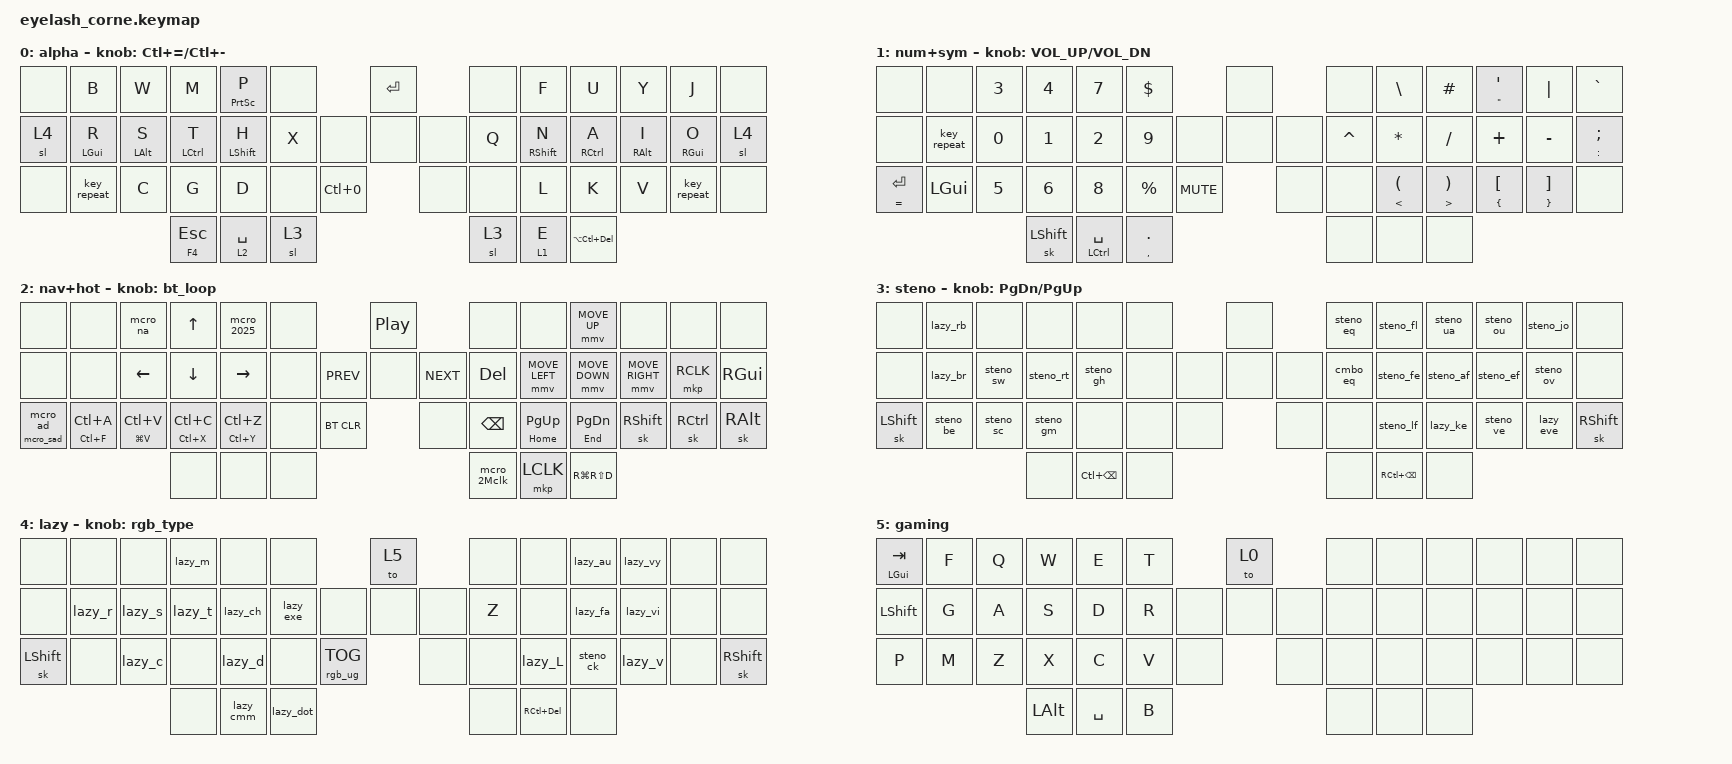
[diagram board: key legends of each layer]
#include <dt-bindings/zmk/mouse.h>
#include <input/processors.dtsi>
#include <behaviors.dtsi>
#include <dt-bindings/zmk/bt.h>
#include <dt-bindings/zmk/keys.h>
#include <dt-bindings/zmk/pointing.h>
#include <dt-bindings/zmk/rgb.h>

/*

   &mmv_input_listener {
       input-processors = <&zip_xy_scaler 2 1>;
   };

   &msc_input_listener {
       input-processors = <&zip_xy_scaler 2 1>;
   };

 */

#define ZMK_MOUSE_DEFAULT_MOVE_VAL 1600  // 600
#define ZMK_MOUSE_DEFAULT_SCRL_VAL 30    // 10

&mt {
    tapping-term-ms = <200>;
    flavor = "tap-preferred";
    require-prior-idle-ms = <75>;
};

&lt {
    tapping-term-ms = <200>;
    require-prior-idle-ms = <75>;
};

&caps_word { continue-list = <UNDERSCORE BACKSPACE DELETE MINUS N1 N2 N3 N4 N5 N6 N7 N8 N9 N0>; };

/ {
    behaviors {
        td0: td0 {
            compatible = "zmk,behavior-tap-dance";
            display-name = "Shift/Caps Lock Tap Dance";
            #binding-cells = <0>;
            bindings = <&kp LEFT_SHIFT>, <&kp CAPS>;
        };

        act_dir: act_dir {
            compatible = "zmk,behavior-hold-tap";
            label = "ACT_DIR";
            bindings = <&mcro_sad>, <&mcro_ad>;

            #binding-cells = <2>;
            tapping-term-ms = <200>;
            quick-tap-ms = <0>;
            require-prior-idle-ms = <0>;
            flavor = "tap-preferred";
        };

        media: media {
            compatible = "zmk,behavior-tap-dance";
            label = "MEDIA";
            #binding-cells = <0>;
            bindings = <&mt C_PP C_NEXT>, <&kp C_PREV>;
        };

        bt_loop: bt_loop {
            compatible = "zmk,behavior-sensor-rotate";
            label = "BT_LOOP";
            #sensor-binding-cells = <0>;
            bindings = <&bt BT_NXT>, <&bt BT_PRV>;
        };

        rgb_type: rgb_type {
            compatible = "zmk,behavior-sensor-rotate";
            label = "RGB_TYPE";
            #sensor-binding-cells = <0>;
            bindings = <&rgb_ug RGB_EFF>, <&rgb_ug RGB_EFR>;
        };

        sk_tap: sk_tap {
            compatible = "zmk,behavior-hold-tap";
            label = "SK_TAP";
            bindings = <&sk>, <&kp>;

            #binding-cells = <2>;
            tapping-term-ms = <200>;
            require-prior-idle-ms = <50>;
            flavor = "tap-preferred";
        };
    };

    rgb_encoder: rgb_encoder {
        compatible = "zmk,behavior-sensor-rotate";
        #sensor-binding-cells = <0>;
        bindings = <&rgb_ug RGB_BRI>, <&rgb_ug RGB_BRD>;
    };

    scroll_encoder: scroll_encoder {
        compatible = "zmk,behavior-sensor-rotate";
        #sensor-binding-cells = <0>;
        bindings = <&msc SCRL_DOWN>, <&msc SCRL_UP>;

        tap-ms = <30>;
    };

    macros {
        mcro_sQuote: mcro_sQuote {
            compatible = "zmk,behavior-macro";
            #binding-cells = <0>;
            bindings = <&kp SQT &kp SQT &kp LEFT_ARROW>;
            label = "MCRO_SQUOTE";
        };

        mcro_2Mclk: mcro_2Mclk {
            compatible = "zmk,behavior-macro";
            #binding-cells = <0>;
            bindings = <&mkp LCLK &mkp LCLK>;
            label = "MCRO_2MCLK";
        };

        mcro_na: mcro_na {
            compatible = "zmk,behavior-macro";
            #binding-cells = <0>;
            bindings = <&kp LS(N) &kp FSLH &kp LS(A)>;
            label = "MCRO_NA";
        };

        mcro_2025: mcro_2025 {
            compatible = "zmk,behavior-macro";
            #binding-cells = <0>;
            bindings = <&kp N2 &kp N0 &kp N2 &kp N5>;
            label = "MCRO_2025";
        };

        mcro_ad: mcro_ad {
            compatible = "zmk,behavior-macro";
            #binding-cells = <0>;
            bindings = <&kp D &kp E &kp L &kp L &kp O &kp N &kp DOT &kp M &kp O &kp Y>;
            label = "MCRO_AD";
        };

        mcro_sad: mcro_sad {
            compatible = "zmk,behavior-macro";
            #binding-cells = <0>;
            bindings = <&kp S &kp DOT &kp D &kp E &kp L &kp L &kp O &kp N &kp DOT &kp M &kp O &kp Y>;
            label = "MCRO_SAD";
            wait-ms = <0>;
        };

        steno_fl: steno_fl {
            compatible = "zmk,behavior-macro";
            #binding-cells = <0>;
            bindings = <&kp F &kp L>;
            label = "STENO_FL";
        };

        steno_lf: steno_lf {
            compatible = "zmk,behavior-macro";
            #binding-cells = <0>;
            bindings = <&kp L &kp F>;
            label = "STENO_LF";
        };

        steno_ou: steno_ou {
            compatible = "zmk,behavior-macro";
            #binding-cells = <0>;
            bindings = <&kp O &kp U>;
            label = "STENO_OU";
        };

        steno_af: steno_af {
            compatible = "zmk,behavior-macro";
            #binding-cells = <0>;
            bindings = <&kp A &kp F>;
            label = "STENO_AF";
        };

        steno_fe: steno_fe {
            compatible = "zmk,behavior-macro";
            #binding-cells = <0>;
            bindings = <&kp F &kp E>;
            label = "STENO_FE";
        };

        steno_ef: steno_ef {
            compatible = "zmk,behavior-macro";
            #binding-cells = <0>;
            bindings = <&kp E &kp F>;
            label = "STENO_EF";
        };

        steno_sw: steno_sw {
            compatible = "zmk,behavior-macro";
            #binding-cells = <0>;
            bindings = <&kp S &kp W>;
            label = "STENO_SW";
        };

        lazy_r: lazy_r {
            compatible = "zmk,behavior-macro";
            #binding-cells = <0>;
            bindings = <&kp SQT &kp R &kp E &kp SPACE>;
            label = "LAZY_R";
        };

        lazy_s: lazy_s {
            compatible = "zmk,behavior-macro";
            #binding-cells = <0>;
            bindings = <&kp SQT &kp S &kp SPACE>;
            label = "LAZY_S";
        };

        lazy_t: lazy_t {
            compatible = "zmk,behavior-macro";
            #binding-cells = <0>;
            bindings = <&kp SQT &kp T &kp SPACE>;
            label = "LAZY_T";
        };

        lazy_L: lazy_L {
            compatible = "zmk,behavior-macro";
            #binding-cells = <0>;
            bindings = <&kp SQT &kp L &kp L &kp SPACE>;
            label = "LAZY_L";
        };

        lazy_v: lazy_v {
            compatible = "zmk,behavior-macro";
            #binding-cells = <0>;
            bindings = <&kp SQT &kp V &kp E &kp SPACE>;
            label = "LAZY_V";
        };

        lazy_cmm: lazy_cmm {
            compatible = "zmk,behavior-macro";
            #binding-cells = <0>;
            bindings = <&kp COMMA &kp SPACE>;
            label = "LAZY_CMM";
        };

        lazy_ke: lazy_ke {
            compatible = "zmk,behavior-macro";
            #binding-cells = <0>;
            bindings = <&kp K &kp E>;
            label = "LAZY_KE";
        };

        lazy_exe: lazy_exe {
            compatible = "zmk,behavior-macro";
            #binding-cells = <0>;
            bindings = <&kp E &kp X &kp E>;
            label = "LAZY_EXE";
        };

        lazy_fa: lazy_fa {
            compatible = "zmk,behavior-macro";
            #binding-cells = <0>;
            bindings = <&kp F &kp A>;
            label = "LAZY_FA";
        };

        lazy_m: lazy_m {
            compatible = "zmk,behavior-macro";
            #binding-cells = <0>;
            bindings = <&kp SQT &kp M &kp SPACE>;
            label = "LAZY_M";
        };

        steno_ov: steno_ov {
            compatible = "zmk,behavior-macro";
            #binding-cells = <0>;
            bindings = <&kp O &kp V>;
            label = "STENO_OV";
        };

        steno_gm: steno_gm {
            compatible = "zmk,behavior-macro";
            #binding-cells = <0>;
            bindings = <&kp G &kp M>;
            label = "STENO_GM";
        };

        lazy_d: lazy_d {
            compatible = "zmk,behavior-macro";
            #binding-cells = <0>;
            bindings = <&kp SQT &kp D &kp SPACE>;
            label = "LAZY_D";
        };

        lazy_au: lazy_au {
            compatible = "zmk,behavior-macro";
            #binding-cells = <0>;
            bindings = <&kp A &kp U>;
            label = "LAZY_AU";
        };

        lazy_eve: lazy_eve {
            compatible = "zmk,behavior-macro";
            #binding-cells = <0>;
            bindings = <&kp E &kp V &kp E>;
            label = "LAZY_EVE";
        };

        lazy_c: lazy_c {
            compatible = "zmk,behavior-macro";
            #binding-cells = <0>;
            bindings = <&kp C &kp SQT>;
            label = "LAZY_C";
        };

        steno_ua: steno_ua {
            compatible = "zmk,behavior-macro";
            #binding-cells = <0>;
            bindings = <&kp U &kp A>;
            label = "STENO_UA";
        };

        lazy_rb: lazy_rb {
            compatible = "zmk,behavior-macro";
            #binding-cells = <0>;
            bindings = <&kp R &kp B>;
            label = "LAZY_RB";
        };

        lazy_br: lazy_br {
            compatible = "zmk,behavior-macro";
            #binding-cells = <0>;
            bindings = <&kp B &kp R>;
            label = "LAZY_BR";
        };

        lazy_be: lazy_be {
            compatible = "zmk,behavior-macro";
            #binding-cells = <0>;
            bindings = <&kp B &kp E>;
            label = "LAZY_BE";
        };

        steno_be: steno_be {
            compatible = "zmk,behavior-macro";
            #binding-cells = <0>;
            bindings = <&kp B &kp E>;
            label = "STENO_BE";
        };

        steno_sc: steno_sc {
            compatible = "zmk,behavior-macro";
            #binding-cells = <0>;
            bindings = <&kp S &kp C>;
            label = "STENO_SC";
        };

        steno_ck: steno_ck {
            compatible = "zmk,behavior-macro";
            #binding-cells = <0>;
            bindings = <&kp C &kp K>;
            label = "STENO_CK";
        };

        steno_ve: steno_ve {
            compatible = "zmk,behavior-macro";
            #binding-cells = <0>;
            bindings = <&kp V &kp E>;
            label = "STENO_VE";
        };

        lazy_vy: lazy_vy {
            compatible = "zmk,behavior-macro";
            #binding-cells = <0>;
            bindings = <&kp V &kp Y>;
            label = "LAZY_VY";
        };

        lazy_vi: lazy_vi {
            compatible = "zmk,behavior-macro";
            #binding-cells = <0>;
            bindings = <&kp V &kp I>;
            label = "LAZY_VI";
        };

        steno_gh: steno_gh {
            compatible = "zmk,behavior-macro";
            #binding-cells = <0>;
            bindings = <&kp G &kp H>;
            label = "STENO_GH";
        };

        steno_rt: steno_rt {
            compatible = "zmk,behavior-macro";
            #binding-cells = <0>;
            bindings = <&kp R &kp T>;
            label = "STENO_RT";
        };

        steno_eq: steno_eq {
            compatible = "zmk,behavior-macro";
            #binding-cells = <0>;
            bindings = <&kp E &kp Q>;
            label = "STENO_EQ";
        };

        steno_jo: steno_jo {
            compatible = "zmk,behavior-macro";
            #binding-cells = <0>;
            bindings = <&kp J &kp O>;
            label = "STENO_JO";
        };

        lazy_dot: lazy_dot {
            compatible = "zmk,behavior-macro";
            #binding-cells = <0>;
            bindings = <&kp DOT &kp SPACE>;
            label = "LAZY_DOT";
        };

        lazy_ch: lazy_ch {
            compatible = "zmk,behavior-macro";
            #binding-cells = <0>;
            bindings = <&kp C &kp H>;
            label = "LAZY_CH";
        };

        cmbo_eq: cmbo_eq {
            compatible = "zmk,behavior-macro";
            #binding-cells = <0>;
            bindings = <&kp E &kp Q>;
            label = "CMBO_EQ";
        };
    };

    combos {
        compatible = "zmk,combos";

        cap {
            bindings = <&caps_word>;
            key-positions = <44 45>;
            layers = <0>;
            timeout-ms = <30>;
        };

        tab {
            bindings = <&kp TAB>;
            key-positions = <13 14>;
            layers = <0>;
            timeout-ms = <30>;
        };

        und {
            bindings = <&mt TILDE UNDER>;
            key-positions = <26 27>;
            timeout-ms = <30>;
        };

        exl {
            bindings = <&mt QUESTION EXCLAMATION>;
            key-positions = <25 26>;
            timeout-ms = <30>;
        };

        at {
            bindings = <&kp AMPS>;
            key-positions = <11 10>;
            timeout-ms = <30>;
        };

        amp {
            bindings = <&kp AT>;
            key-positions = <39 40>;
            timeout-ms = <30>;
        };

        Lshft {
            bindings = <&sk LSHFT>;
            key-positions = <17 18>;
        };

        Rshft {
            bindings = <&sk RSHFT>;
            key-positions = <22 23>;
        };
    };

    keymap {
        compatible = "zmk,keymap";

        alpha {
            label = "alpha";
            bindings = <
&none  &kp B           &kp W           &kp M          &mt PRINTSCREEN P  &none                       &kp RET         &none  &kp F              &kp U               &kp Y            &kp J            &none
&sl 4  &mt LEFT_GUI R  &mt LEFT_ALT S  &mt LCTRL T    &mt LEFT_SHIFT H   &kp X                &none  &none    &none  &kp Q  &mt RIGHT_SHIFT N  &mt RCTRL A         &mt RIGHT_ALT I  &mt RIGHT_GUI O  &sl 4
&none  &key_repeat     &kp C           &kp G          &kp D              &none  &kp LC(N0)           &none           &none  &kp L              &kp K               &kp V            &key_repeat      &none
                                       &mt F4 ESCAPE  &lt 2 SPACE        &sl 3                                       &sl 3  &lt 1 E            &kp LA(LC(DELETE))
            >;

            sensor-bindings = <&inc_dec_kp LC(EQUAL) LC(MINUS)>;
        };

        num+sym {
            label = "num+sym";
            bindings = <
&none            &none        &kp N3  &kp N4     &kp N7           &kp DOLLAR                             &none         &none      &kp BSLH                        &kp HASH                            &mt DOUBLE_QUOTES SINGLE_QUOTE  &kp PIPE                       &kp GRAVE
&none            &key_repeat  &kp N0  &kp N1     &kp N2           &kp N9                          &none  &none  &none  &kp CARET  &kp ASTRK                       &kp FSLH                            &kp PLUS                        &kp MINUS                      &mt COLON SEMICOLON
&mt EQUAL ENTER  &kp LGUI     &kp N5  &kp N6     &kp N8           &kp PERCENT       &kp C_MUTE           &none         &none      &mt LESS_THAN LEFT_PARENTHESIS  &mt GREATER_THAN RIGHT_PARENTHESIS  &mt LEFT_BRACE LEFT_BRACKET     &mt RIGHT_BRACE RIGHT_BRACKET  &none
                                      &sk LSHFT  &mt LCTRL SPACE  &mt COMMA PERIOD                                     &none      &none                           &none
            >;

            sensor-bindings = <&inc_dec_kp C_VOL_UP C_VOL_DN>;
        };

        nav+hot {
            label = "nav+hot";
            bindings = <
&none         &none            &mcro_na         &kp UP           &mcro_2025       &none                            &kp C_PP              &none        &none           &mmv MOVE_UP    &none            &none      &none
&none         &none            &kp LEFT         &kp DOWN         &kp RIGHT        &none                &kp C_PREV  &none     &kp C_NEXT  &kp DEL      &mmv MOVE_LEFT  &mmv MOVE_DOWN  &mmv MOVE_RIGHT  &mkp RCLK  &kp RGUI
&act_dir 0 0  &mt LC(F) LC(A)  &mt LG(V) LC(V)  &mt LC(X) LC(C)  &mt LC(Y) LC(Z)  &none  &bt BT_CLR                &none                 &kp BSPC     &mt HOME PG_UP  &mt END PG_DN   &sk RSHFT        &sk RCTRL  &sk RALT
                                                &none            &none            &none                                                  &mcro_2Mclk  &mkp LCLK       &kp RG(RS(D))
            >;

            sensor-bindings = <&bt_loop>;
        };

        steno {
            label = "steno";
            bindings = <
&none       &lazy_rb   &none      &none      &none         &none                  &none         &steno_eq  &steno_fl     &steno_ua  &steno_ou  &steno_jo  &none
&none       &lazy_br   &steno_sw  &steno_rt  &steno_gh     &none           &none  &none  &none  &cmbo_eq   &steno_fe     &steno_af  &steno_ef  &steno_ov  &none
&sk LSHIFT  &steno_be  &steno_sc  &steno_gm  &none         &none  &none           &none         &none      &steno_lf     &lazy_ke   &steno_ve  &lazy_eve  &sk RSHIFT
                                  &none      &kp LC(BSPC)  &none                                &none      &kp RC(BSPC)  &none
            >;

            sensor-bindings = <&inc_dec_kp PG_DN PG_UP>;
        };

        lazy {
            label = "lazy";
            bindings = <
&none      &none    &none    &lazy_m  &none      &none                                &to 5         &none  &none        &lazy_au   &lazy_vy  &none  &none
&none      &lazy_r  &lazy_s  &lazy_t  &lazy_ch   &lazy_exe                     &none  &none  &none  &kp Z  &none        &lazy_fa   &lazy_vi  &none  &none
&sk LSHFT  &none    &lazy_c  &none    &lazy_d    &none      &rgb_ug RGB_TOG           &none         &none  &lazy_L      &steno_ck  &lazy_v   &none  &sk RSHFT
                             &none    &lazy_cmm  &lazy_dot                                          &none  &kp RC(DEL)  &none
            >;

            sensor-bindings = <&rgb_type>;
        };

        Gaming {
            label = "gaming";
            bindings = <
&mt LGUI TAB  &kp F  &kp Q  &kp W     &kp E      &kp T                  &to 0         &none  &none  &none  &none  &none  &none
&kp LSHFT     &kp G  &kp A  &kp S     &kp D      &kp R           &none  &none  &none  &none  &none  &none  &none  &none  &none
&kp P         &kp M  &kp Z  &kp X     &kp C      &kp V  &none           &none         &none  &none  &none  &none  &none  &none
                            &kp LALT  &kp SPACE  &kp B                                &none  &none  &none
            >;
        };
    };
};
